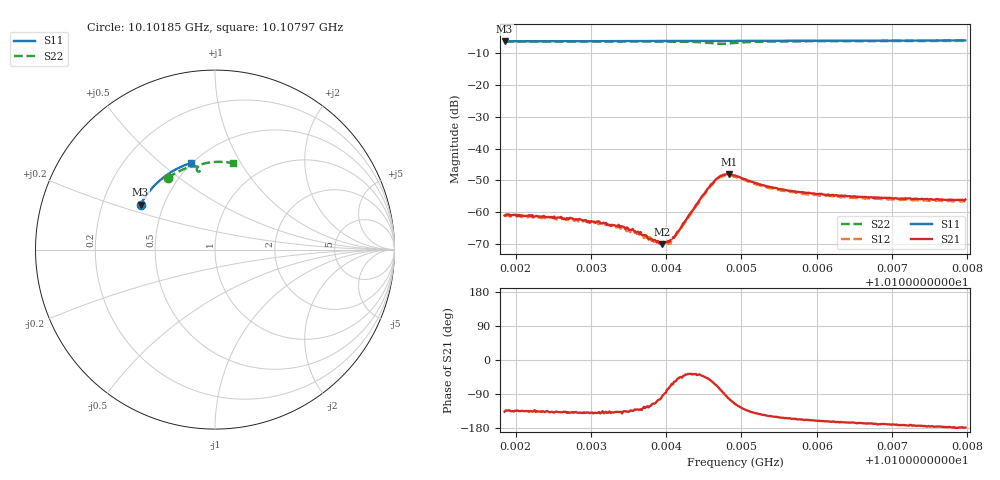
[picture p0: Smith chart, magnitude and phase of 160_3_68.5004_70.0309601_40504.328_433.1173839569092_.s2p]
#  HZ  S  RI  R  50.00
! Rohde & Schwarz Vector Network Analyzer
! Rohde-Schwarz,ZNB20-2Port,1311601062101988,3.16
! Created: UTC 3/20/2024, 4:55:46 PM
! freq[Hz]  re:S11  im:S11  re:S21  im:S21  re:S12  im:S12  re:S22  im:S22
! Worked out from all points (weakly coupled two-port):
!   401 points, 10.10185 GHz to 10.10797 GHz, reference 50 ohm
!   highest |S21| = -48.03 dB at 10.10484 GHz (marker M1); lowest = -70.1 dB at 10.10395 GHz (marker M2)
!   lowest |S11| = -6.3 dB at 10.10185 GHz (marker M3), VSWR 2.88, Z = 18.5 + j12.1 ohm
!   |S11| at or under -10 dB: nowhere
!   |S22| runs from -7.1 to -6.2 dB; largest |S21 - S12| = 0.0004
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1.0101854e10  -0.4149 0.2507  -0.000642 -0.000614  -0.000556 -0.000677  -0.2624 0.3986
1.0102466e10  -0.396 0.2827  -0.000624 -0.00057  -0.000562 -0.000604  -0.2292 0.4205
1.0102879e10  -0.3818 0.3037  -0.00057 -0.000495  -0.00054 -0.000529  -0.2055 0.4338
1.0103399e10  -0.3627 0.3286  -0.000445 -0.000411  -0.000383 -0.000403  -0.1735 0.4487
1.0103567e10  -0.3562 0.3364  -0.000355 -0.000371  -0.000306 -0.000402  -0.1625 0.4531
1.0103644e10  -0.353 0.3401  -0.000302 -0.000337  -0.00026 -0.000369  -0.1575 0.4548
1.0103904e10  -0.3424 0.3518  -8.22e-05 -0.000318  -4.87e-05 -0.000323  -0.1393 0.4604
1.010395e10  -0.3405 0.3538  -2.31e-05 -0.000312  -3.88e-05 -0.000326  -0.1358 0.4613
1.0103996e10  -0.3387 0.3558  2.2e-05 -0.00034  4.84e-05 -0.000314  -0.1324 0.4619
1.0104042e10  -0.3367 0.3577  0.000103 -0.000326  0.000127 -0.000302  -0.1289 0.4626
1.0104134e10  -0.3328 0.3617  0.000264 -0.000372  0.000289 -0.000333  -0.1216 0.4637
1.0104455e10  -0.3186 0.3751  0.00125 -0.00104  0.00125 -0.000887  -0.0923 0.4597
1.0104623e10  -0.3111 0.382  0.00148 -0.00251  0.00166 -0.00229  -0.0821 0.4448
1.010473e10  -0.3061 0.3861  0.000618 -0.00372  0.000858 -0.00351  -0.0882 0.4351
1.0104838e10  -0.3014 0.3903  -0.000871 -0.00387  -0.000531 -0.00376  -0.0989 0.4381
1.0104914e10  -0.2979 0.3932  -0.00167 -0.00341  -0.00128 -0.00341  -0.1016 0.4459
1.0105358e10  -0.2767 0.41  -0.00216 -0.00135  -0.0019 -0.00147  -0.0747 0.4746
1.0105618e10  -0.2639 0.4192  -0.00196 -0.000959  -0.0018 -0.00108  -0.0558 0.4807
1.0105939e10  -0.2477 0.43  -0.00185 -0.000711  -0.0017 -0.000815  -0.0333 0.4851
1.0106429e10  -0.2221 0.4449  -0.00173 -0.000454  -0.0016 -0.000599  -0.000379 0.4884
1.0106965e10  -0.1931 0.4595  -0.00167 -0.000294  -0.00155 -0.000424  0.035 0.4887
1.0107974e10  -0.1361 0.4814  -0.00159 -4.63e-05  -0.00146 -0.000185  0.0999 0.4823
